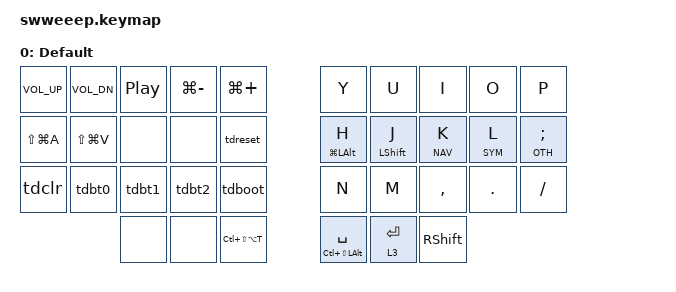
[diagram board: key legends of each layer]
#include <behaviors.dtsi>
#include <dt-bindings/zmk/keys.h>
#include <dt-bindings/zmk/bt.h>
#include <dt-bindings/zmk/outputs.h>

#define DEFAULT 0
#define NAV     1
#define SYM     2
#define OTH     3

#define TAPPING_TERM 200
#define QUICK_TAP    100

&lt {
	flavor = "tap-preferred";
	tapping-term-ms = <TAPPING_TERM>;
    quick-tap-ms = <QUICK_TAP>;
};

&mt {
	flavor = "tap-preferred";
	tapping-term-ms = <TAPPING_TERM>;
    quick-tap-ms = <QUICK_TAP>;
};
&caps_word {
    continue-list = <UNDERSCORE MINUS>;
};

/ {
    behaviors {

    };
};

/ {
    combos {
        compatible = "zmk,combos";
        combo_undo {
            timeout-ms = <50>;
            key-positions = <20 21>;
            bindings = <&kp LC(Z)>;
        };
        combo_q {
            timeout-ms = <50>;
            key-positions = <21 22>;
            bindings = <&kp Q>;
        };
        combo_semicolon {
            timeout-ms = <50>;
            key-positions = <27 28>;
            bindings = <&kp SEMI>;
        };
    };
};

/ {

    behaviors {
        hm: layer_mods {
            compatible = "zmk,behavior-hold-tap";
            label = "LAYER_MODS";
            #binding-cells = <2>;
            tapping-term-ms = <TAPPING_TERM>;
            quick_tap_ms = <0>;
            flavor = "tap-preferred";
            bindings = <&kp>, <&kp>;
        };
        hs: homerow_shift {
            compatible = "zmk,behavior-hold-tap";
            label = "HOMEROW_SHIFT";
            #binding-cells = <2>;
            tapping-term-ms = <TAPPING_TERM>;
            quick_tap_ms = <0>;
            flavor = "tap-preferred";
            bindings = <&kp>, <&kp>;
        };
        tdboot: tap_dance_1 {
            compatible = "zmk,behavior-tap-dance";
            label = "TAP_DANCE_0";
            #binding-cells = <0>;
            tapping-term-ms = <200>;
            bindings = <&none>, <&bootloader>;
        };
        tdclr: tap_dance_0 {
            compatible = "zmk,behavior-tap-dance";
            label = "TAP_DANCE_0";
            #binding-cells = <0>;
            tapping-term-ms = <200>;
            bindings = <&none>, <&bt BT_CLR>;
        };
        tdreset: tap_dance_2 {
            compatible = "zmk,behavior-tap-dance";
            label = "TAP_DANCE_0";
            #binding-cells = <0>;
            tapping-term-ms = <200>;
            bindings = <&none>, <&sys_reset>;
        };
        tdbt0: tap_dance_3 {
            compatible = "zmk,behavior-tap-dance";
            label = "TAP_DANCE_0";
            #binding-cells = <0>;
            tapping-term-ms = <200>;
            bindings = <&none>, <&bt BT_SEL 0>;
        };
        tdbt1: tap_dance_4 {
            compatible = "zmk,behavior-tap-dance";
            label = "TAP_DANCE_0";
            #binding-cells = <0>;
            tapping-term-ms = <200>;
            bindings = <&none>, <&bt BT_SEL 1>;
        };
        tdbt2: tap_dance_5 {
            compatible = "zmk,behavior-tap-dance";
            label = "TAP_DANCE_0";
            #binding-cells = <0>;
            tapping-term-ms = <200>;
            bindings = <&none>, <&bt BT_SEL 2>;
        };
    };



    keymap {
        compatible = "zmk,keymap";

        default_layer {
            label = "Default";

            bindings = <
//╭──────────┬──────────┬──────────┬──────────┬──────────╮               ╭──────────┬──────────┬──────────┬──────────┬──────────╮
  &kp C_VOL_UP &kp C_VOL_DN  &kp C_PP  &kp LG(MINUS)   &kp LG(PLUS)                    &kp Y      &kp U      &kp I      &kp O       &kp P
//├──────────┼──────────┼──────────┼──────────┼──────────┤               ├──────────┼──────────┼──────────┼──────────┼──────────┤
 &kp LS(LG(A))  &kp LS(LG(V)) &none  &none       &tdreset                          &mt LG(LALT) H  &hs LSHIFT J &lt NAV K &lt SYM L &lt OTH SEMI
//├──────────┼──────────┼──────────┼──────────┼──────────┤               ├──────────┼──────────┼──────────┼──────────┼──────────┤
   &tdclr      &tdbt0      &tdbt1     &tdbt2     &tdboot                     &kp N      &kp M     &kp COMMA   &kp DOT    &kp FSLH
//╰──────────┴──────────┼──────────┼──────────┼─────────╯               ╰─────────┼───────────┼──────────┼──────────┼──────────╯
                 &none       &none        &kp LC(LS(LA(T)))      &mt LC(LS(LALT)) SPACE &lt 3 ENTER       &kp RSHIFT
 //            ╰──────────────┴──────────────┴─────────────────╯    ╰─────────────────────┴───────────────┴───────────────╯

            >;
        };
    };
};
